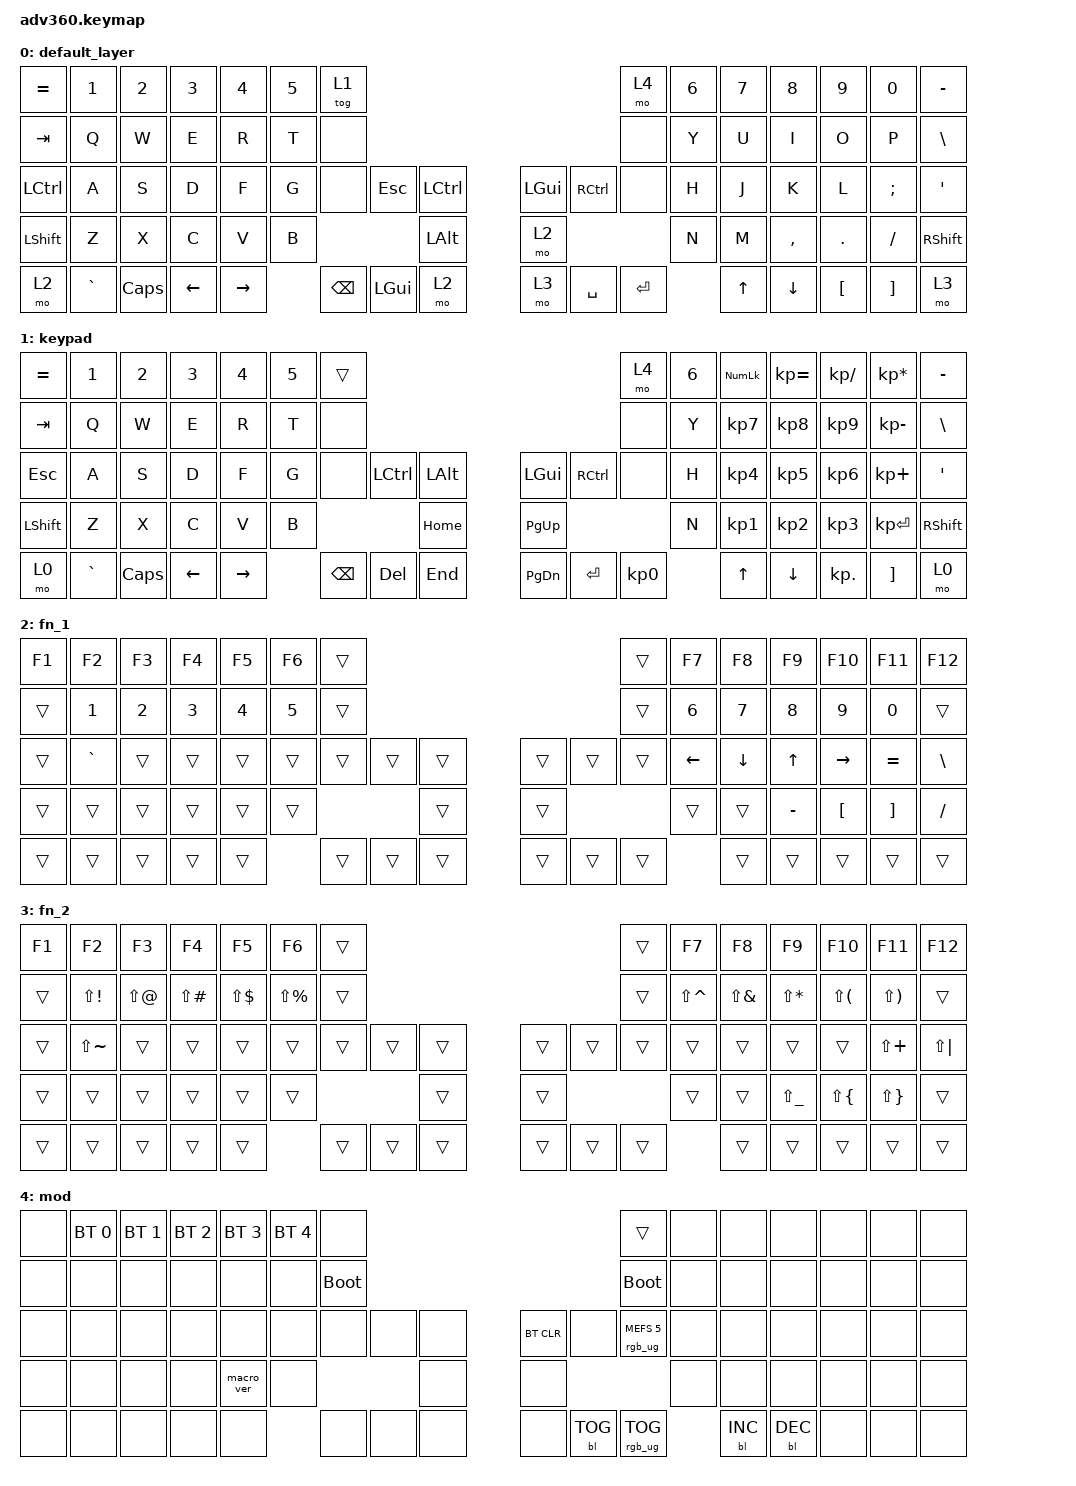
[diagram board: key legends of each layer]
#include <behaviors.dtsi>
#include <dt-bindings/zmk/backlight.h>
#include <dt-bindings/zmk/bt.h>
#include <dt-bindings/zmk/keys.h>
#include <dt-bindings/zmk/rgb.h>

/ {
    behaviors {
        #include "macros.dtsi"
      #include "version.dtsi"
      #ifndef VERSION_MACRO

        macro_ver: macro_ver {
            compatible = "zmk,behavior-macro";
            label = "macro_version";
            #binding-cells = <0>;
            bindings = <&kp RET>;
        };

        #endif

        hm: homerow_mods {
            compatible = "zmk,behavior-hold-tap";
            label = "HOMEROW_MODS";
            #binding-cells = <2>;
            tapping-term-ms = <200>;
            quick_tap_ms = <175>;
            flavor = "tap-preferred";
            bindings = <&kp>, <&kp>;
        };
    };

    macros {
    };

    keymap {
        compatible = "zmk,keymap";

        default_layer {
            bindings = <
&kp EQUAL  &kp N1     &kp N2    &kp N3    &kp N4     &kp N5  &tog 1                                                         &mo 4      &kp N6  &kp N7  &kp N8     &kp N9    &kp N0    &kp MINUS
&kp TAB    &kp Q      &kp W     &kp E     &kp R      &kp T   &none                                                          &none      &kp Y   &kp U   &kp I      &kp O     &kp P     &kp BSLH
&kp LCTRL  &kp A      &kp S     &kp D     &kp F      &kp G   &none     &kp ESC   &kp LEFT_CONTROL      &kp LGUI  &kp RCTRL  &none      &kp H   &kp J   &kp K      &kp L     &kp SEMI  &kp SQT
&kp LSHFT  &kp Z      &kp X     &kp C     &kp V      &kp B                       &kp LEFT_ALT          &mo 2                           &kp N   &kp M   &kp COMMA  &kp DOT   &kp FSLH  &kp RSHFT
&mo 2      &kp GRAVE  &kp CAPS  &kp LEFT  &kp RIGHT          &kp BSPC  &kp LGUI  &mo 2                 &mo 3     &kp SPACE  &kp ENTER          &kp UP  &kp DOWN   &kp LBKT  &kp RBKT  &mo 3
            >;
        };

        keypad {
            bindings = <
&kp EQUAL  &kp N1     &kp N2    &kp N3    &kp N4     &kp N5  &trans                                                   &mo 4      &kp N6  &kp KP_NUM  &kp KP_EQUAL  &kp KP_DIVIDE  &kp KP_MULTIPLY  &kp MINUS
&kp TAB    &kp Q      &kp W     &kp E     &kp R      &kp T   &none                                                    &none      &kp Y   &kp KP_N7   &kp KP_N8     &kp KP_N9      &kp KP_MINUS     &kp BSLH
&kp ESC    &kp A      &kp S     &kp D     &kp F      &kp G   &none     &kp LCTRL  &kp LALT      &kp LGUI   &kp RCTRL  &none      &kp H   &kp KP_N4   &kp KP_N5     &kp KP_N6      &kp KP_PLUS      &kp SQT
&kp LSHFT  &kp Z      &kp X     &kp C     &kp V      &kp B                        &kp HOME      &kp PG_UP                        &kp N   &kp KP_N1   &kp KP_N2     &kp KP_N3      &kp KP_ENTER     &kp RSHFT
&mo 0      &kp GRAVE  &kp CAPS  &kp LEFT  &kp RIGHT          &kp BSPC  &kp DEL    &kp END       &kp PG_DN  &kp ENTER  &kp KP_N0          &kp UP      &kp DOWN      &kp KP_DOT     &kp RBKT         &mo 0
            >;
        };

        fn_1 {
            bindings = <
&kp F1  &kp F2     &kp F3  &kp F4  &kp F5  &kp F6  &trans                                      &trans  &kp F7    &kp F8    &kp F9     &kp F10    &kp F11    &kp F12
&trans  &kp N1     &kp N2  &kp N3  &kp N4  &kp N5  &trans                                      &trans  &kp N6    &kp N7    &kp N8     &kp N9     &kp N0     &trans
&trans  &kp GRAVE  &trans  &trans  &trans  &trans  &trans  &trans  &trans      &trans  &trans  &trans  &kp LEFT  &kp DOWN  &kp UP     &kp RIGHT  &kp EQUAL  &kp BSLH
&trans  &trans     &trans  &trans  &trans  &trans                  &trans      &trans                  &trans    &trans    &kp MINUS  &kp LBKT   &kp RBKT   &kp FSLH
&trans  &trans     &trans  &trans  &trans          &trans  &trans  &trans      &trans  &trans  &trans            &trans    &trans     &trans     &trans     &trans
            >;
        };

        fn_2 {
            bindings = <
&kp F1  &kp F2         &kp F3      &kp F4         &kp F5        &kp F6         &trans                                      &trans  &kp F7         &kp F8        &kp F9         &kp F10       &kp F11       &kp F12
&trans  &kp LS(EXCL)   &kp LS(AT)  &kp LS(POUND)  &kp LS(DLLR)  &kp LS(PRCNT)  &trans                                      &trans  &kp LS(CARET)  &kp LS(AMPS)  &kp LS(STAR)   &kp LS(LPAR)  &kp LS(RPAR)  &trans
&trans  &kp LS(TILDE)  &trans      &trans         &trans        &trans         &trans  &trans  &trans      &trans  &trans  &trans  &trans         &trans        &trans         &trans        &kp LS(PLUS)  &kp LS(PIPE)
&trans  &trans         &trans      &trans         &trans        &trans                         &trans      &trans                  &trans         &trans        &kp LS(UNDER)  &kp LS(LBRC)  &kp LS(RBRC)  &trans
&trans  &trans         &trans      &trans         &trans                       &trans  &trans  &trans      &trans  &trans  &trans                 &trans        &trans         &trans        &trans        &trans
            >;
        };

        mod {
            bindings = <
&none  &bt BT_SEL 0  &bt BT_SEL 1  &bt BT_SEL 2  &bt BT_SEL 3  &bt BT_SEL 4  &none                                                  &trans                  &none  &none       &none       &none  &none  &none
&none  &none         &none         &none         &none         &none         &bootloader                                            &bootloader             &none  &none       &none       &none  &none  &none
&none  &none         &none         &none         &none         &none         &none        &none  &none      &bt BT_CLR  &none       &rgb_ug RGB_MEFS_CMD 5  &none  &none       &none       &none  &none  &none
&none  &none         &none         &none         &macro_ver    &none                             &none      &none                                           &none  &none       &none       &none  &none  &none
&none  &none         &none         &none         &none                       &none        &none  &none      &none       &bl BL_TOG  &rgb_ug RGB_TOG                &bl BL_INC  &bl BL_DEC  &none  &none  &none
            >;
        };
    };
};
